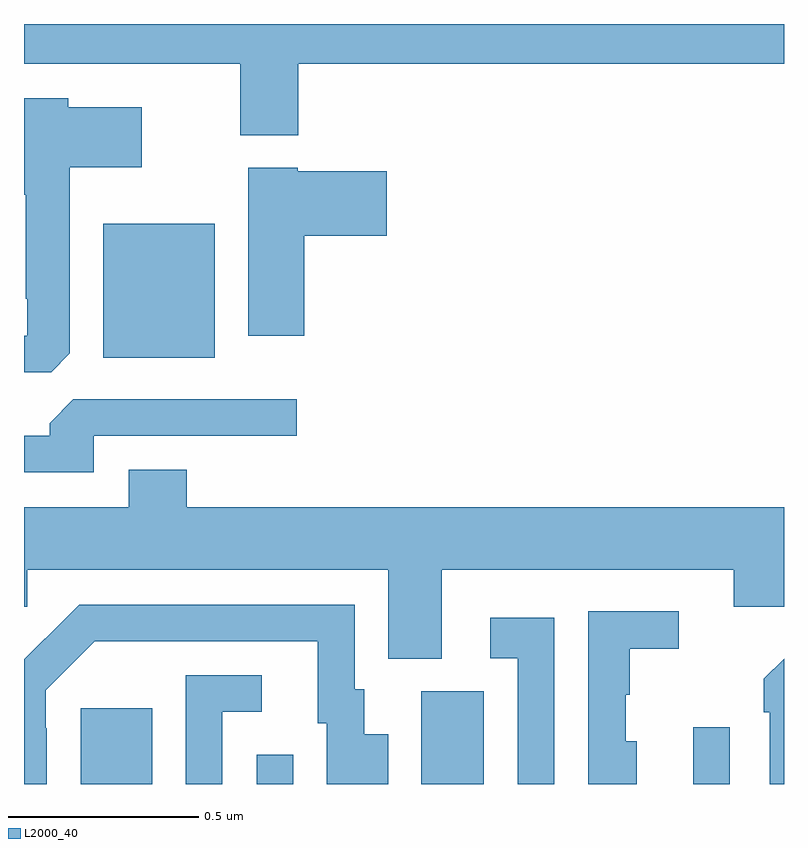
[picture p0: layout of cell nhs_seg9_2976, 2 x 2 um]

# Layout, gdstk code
import gdstk
lib = gdstk.Library(unit=1e-6, precision=1e-09)
def R(c, l, rs):  # rectangles x0, y0, x1, y1
    for r in rs: c.add(gdstk.rectangle(r[:2], r[2:], *l))
def P(c, l, *ps):  # polygons
    for p in ps: c.add(gdstk.Polygon(p, *l))
L2000_40 = (2000, 40)

nhs_seg9_2976 = lib.new_cell('nhs_seg9_2976')
R(nhs_seg9_2976, L2000_40, [(147.149,1218.5,147.337,1218.7), (147.612,1218.5,147.708,1218.577), (148.046,1218.5,148.21,1218.744), (148.761,1218.5,148.857,1218.649), (147.209,1219.622,147.502,1219.975)])
P(nhs_seg9_2976, L2000_40, [(147.722,1220.396),(149,1220.396),(149,1220.5),(147,1220.5),(147,1220.396),(147.569,1220.396),(147.569,1220.207),(147.722,1220.207)],
  [(147.121,1219.633),(147.121,1220.123),(147.31,1220.123),(147.31,1220.281),(147.117,1220.281),(147.117,1220.305),(147,1220.305),(147,1220.051),(147.005,1220.051),(147.005,1219.777),(147.009,1219.777),(147.009,1219.68),(147,1219.68),(147,1219.584),(147.072,1219.584)],
  [(147.737,1219.943),(147.955,1219.943),(147.955,1220.113),(147.72,1220.113),(147.72,1220.122),(147.59,1220.122),(147.59,1219.68),(147.737,1219.68)],
  [(147.183,1219.416),(147.718,1219.416),(147.718,1219.512),(147.129,1219.512),(147.068,1219.45),(147.068,1219.416),(147,1219.416),(147,1219.32),(147.183,1219.32)],
  [(148.099,1219.064),(148.868,1219.064),(148.868,1218.966),(149,1218.966),(149,1219.228),(147.428,1219.228),(147.428,1219.327),(147.275,1219.327),(147.275,1219.228),(147,1219.228),(147,1218.966),(147.009,1218.966),(147.009,1219.064),(147.959,1219.064),(147.959,1218.829),(148.099,1218.829)],
  [(147.06,1218.647),(147.057,1218.647),(147.057,1218.747),(147.186,1218.876),(147.773,1218.876),(147.773,1218.66),(147.797,1218.66),(147.797,1218.5),(147.958,1218.5),(147.958,1218.631),(147.895,1218.631),(147.895,1218.75),(147.87,1218.75),(147.87,1218.972),(147.146,1218.972),(147.055,1218.881),(147.054,1218.882),(147,1218.828),(147,1218.5),(147.06,1218.5)],
  [(148.612,1218.613),(148.583,1218.613),(148.583,1218.735),(148.594,1218.735),(148.594,1218.856),(148.723,1218.856),(148.723,1218.954),(148.485,1218.954),(148.485,1218.5),(148.612,1218.5)],
  [(148.395,1218.937),(148.227,1218.937),(148.227,1218.831),(148.299,1218.831),(148.299,1218.5),(148.395,1218.5)],
  [(149,1218.83),(148.947,1218.777),(148.947,1218.689),(148.962,1218.689),(148.962,1218.5),(149,1218.5)],
  [(147.522,1218.69),(147.625,1218.69),(147.625,1218.786),(147.426,1218.786),(147.426,1218.5),(147.522,1218.5)])

lib.write_gds('nhs_seg9_2976.gds')
